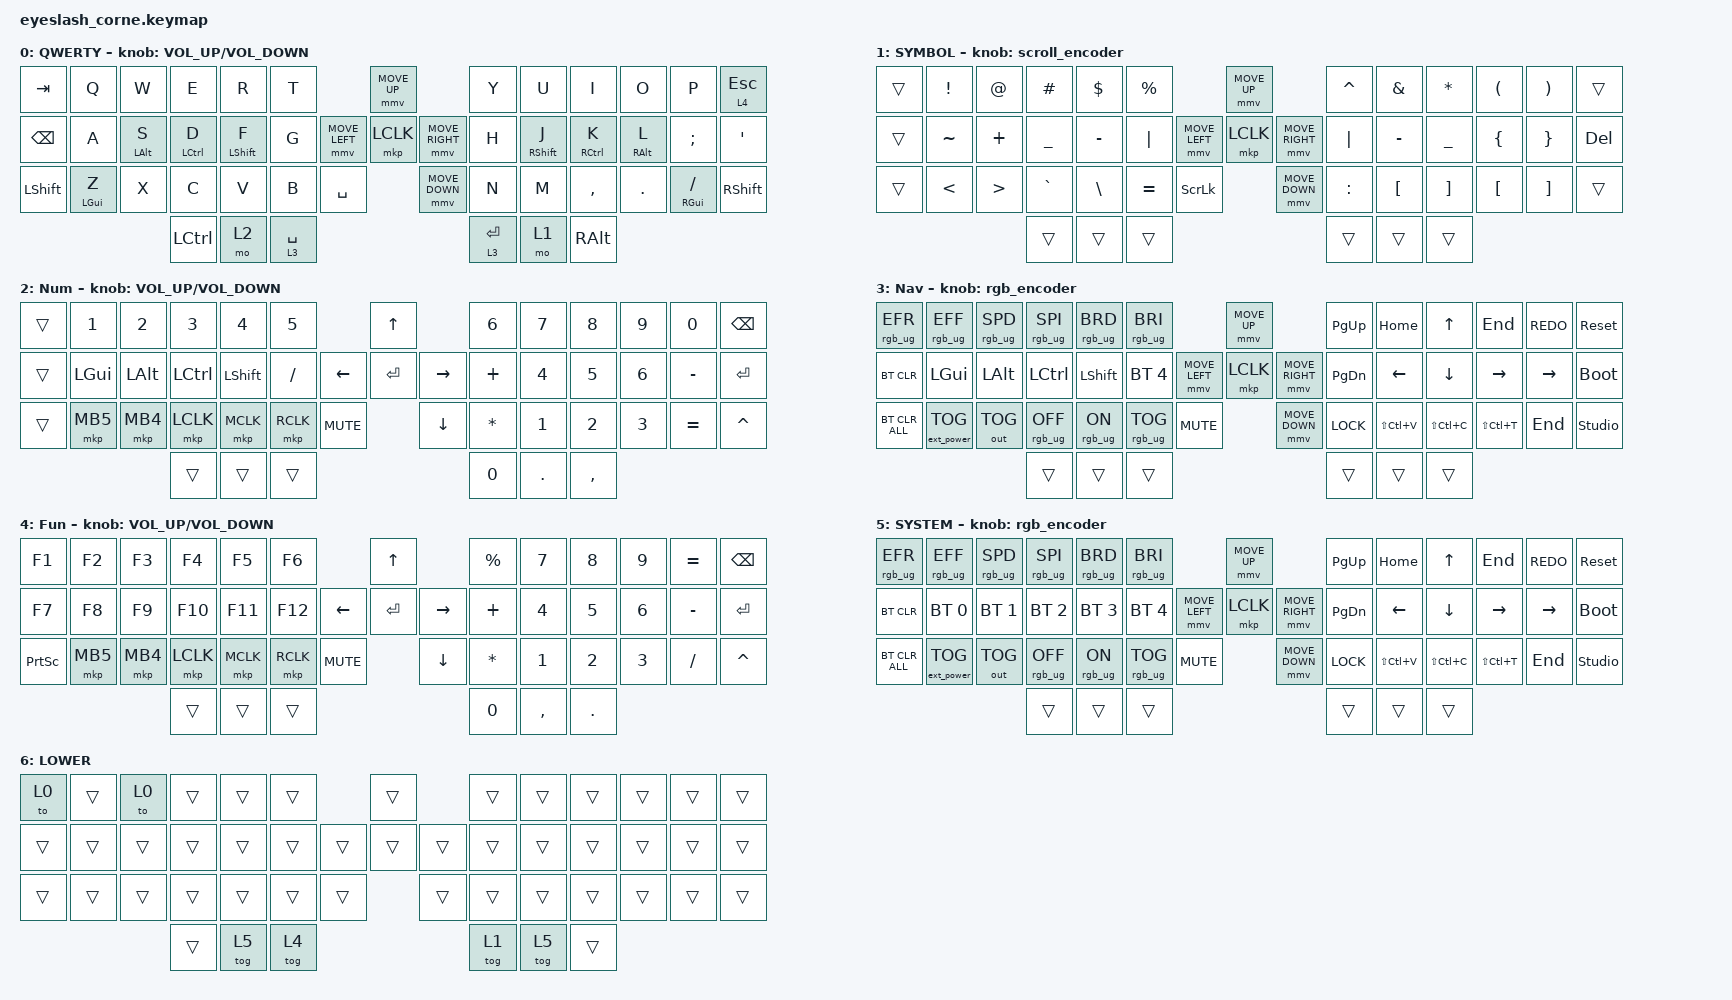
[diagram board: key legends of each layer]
#include <input/processors.dtsi>
#include <behaviors.dtsi>
#include <dt-bindings/zmk/bt.h>
#include <dt-bindings/zmk/ext_power.h>
#include <dt-bindings/zmk/keys.h>
#include <dt-bindings/zmk/outputs.h>
#include <dt-bindings/zmk/pointing.h>
#include <dt-bindings/zmk/rgb.h>

/*

   &mmv_input_listener {
       input-processors = <&zip_xy_scaler 2 1>;
   };

   &msc_input_listener {
       input-processors = <&zip_xy_scaler 2 1>;
   };

 */

/* pointing.h already defines these; undef first to avoid a redefinition warning */
#undef ZMK_POINTING_DEFAULT_MOVE_VAL
#undef ZMK_POINTING_DEFAULT_SCRL_VAL

#define ZMK_POINTING_DEFAULT_MOVE_VAL 1200  // 600
#define ZMK_POINTING_DEFAULT_SCRL_VAL 20    // 10

/ {
    conditional_layers {
        compatible = "zmk,conditional-layers";

        system_layer {
            // Num + symbol held together -> system
            if-layers = <2 1>;
            then-layer = <5>;
        };
    };

    behaviors {
        td0: td0 {
            compatible = "zmk,behavior-tap-dance";
            display-name = "Shift/Caps Lock Tap Dance";
            #binding-cells = <0>;
            bindings = <&kp LEFT_SHIFT>, <&kp CAPS>;
        };

        hrm_left: hrm_left {
            compatible = "zmk,behavior-hold-tap";
            label = "HRM_LEFT";
            bindings = <&kp>, <&kp>;

            #binding-cells = <2>;
            flavor = "balanced";
            tapping-term-ms = <280>;
            quick-tap-ms = <175>;
            require-prior-idle-ms = <175>;
            hold-trigger-on-release;
            hold-trigger-key-positions = <6 7 20 21 22 35 36 45 46 47 8 9 10 11 12 23 24 25 26 27 37 38 39 40 41 19 34 44 43 42>;
        };

        hrm_right: hrm_right {
            compatible = "zmk,behavior-hold-tap";
            label = "HRM_RIGHT";
            bindings = <&kp>, <&kp>;

            #binding-cells = <2>;
            flavor = "balanced";
            tapping-term-ms = <280>;
            quick-tap-ms = <175>;
            require-prior-idle-ms = <175>;
            hold-trigger-on-release;
            hold-trigger-key-positions = <0 1 2 3 4 5 13 14 15 16 17 18 28 29 30 31 32 33 34 42 43 44 19 20 21 35 6 45 46 47>;
        };

        layer_tap: layer_tap {
            compatible = "zmk,behavior-hold-tap";
            label = "LAYER_TAP";
            bindings = <&mo>, <&kp>;

            #binding-cells = <2>;
            quick-tap-ms = <175>;
            flavor = "tap-preferred";
            tapping-term-ms = <280>;
        };
    };

    rgb_encoder: rgb_encoder {
        compatible = "zmk,behavior-sensor-rotate";
        #sensor-binding-cells = <0>;
        bindings = <&rgb_ug RGB_BRI>, <&rgb_ug RGB_BRD>;
    };

    scroll_encoder: scroll_encoder {
        compatible = "zmk,behavior-sensor-rotate";
        #sensor-binding-cells = <0>;
        bindings = <&msc SCRL_DOWN>, <&msc SCRL_UP>;

        tap-ms = <30>;
    };

    combos {
        compatible = "zmk,combos";

        combo_lbrc {
            timeout-ms = <50>;
            key-positions = <4 5>; // KP: VB
            bindings = <&mt RBRC LBRC>;
            layers = <0 1 2 3 4 5>;
        };

        combo_rbrc {
            timeout-ms = <50>;
            key-positions = <6 7>; // KP: NM
            bindings = <&kp RBRC>;
            layers = <0 1 2 3 4 5>;
        };

        combo_lpar {
            timeout-ms = <50>;
            key-positions = <16 17>; // KP: FG
            bindings = <&mt RPAR LPAR>;
            layers = <0 1 2 3 4 5>;
        };

        combo_rpar {
            timeout-ms = <50>;
            key-positions = <18 19>;
            bindings = <&kp RPAR>;
            layers = <0 1 2 3 4 5>;
        };

        combo_lbkt {
            timeout-ms = <50>;
            key-positions = <28 29>; // KP: RT
            bindings = <&mt RBKT LBKT>;
            layers = <0 1 2 3 4 5>;
        };

        combo_rbkt {
            timeout-ms = <50>;
            key-positions = <30 31>; // KP: YU
            bindings = <&kp RBKT>;
            layers = <0 1 2 3 4 5>;
        };

        esc {
            timeout-ms = <50>;
            key-positions = <0 1>;
            bindings = <&kp ESC>; // ESC
            layers = <0>;
        };

        up {
            bindings = <&kp UP>;
            key-positions = <3 4>;
            layers = <0>;
            timeout-ms = <50>;
        };

        down {
            bindings = <&kp DOWN>;
            key-positions = <27 28>;
            timeout-ms = <50>;
            layers = <0>;
        };

        left {
            bindings = <&kp LEFT>;
            key-positions = <14 15>;
            layers = <0>;
            timeout-ms = <50>;
        };

        right {
            bindings = <&kp RIGHT>;
            key-positions = <15 16>;
            layers = <0>;
            timeout-ms = <50>;
        };
    };

    keymap {
        compatible = "zmk,keymap";

        qwerty {
            display-name = "QWERTY";
            bindings = <
&kp TAB         &kp Q                 &kp W             &kp E              &kp R              &kp T                                            &mmv MOVE_UP                     &kp Y               &kp U               &kp I               &kp O              &kp P                       &lt 4 ESC
&kp BACKSPACE   &kp A                 &hrm_left LALT S  &hrm_left LCTRL D  &hrm_left LSHFT F  &kp G                            &mmv MOVE_LEFT  &mkp LCLK       &mmv MOVE_RIGHT  &kp H               &hrm_right RSHFT J  &hrm_right RCTRL K  &hrm_right RALT L  &kp SEMICOLON               &kp SQT
&kp LEFT_SHIFT  &hrm_left LEFT_GUI Z  &kp X             &kp C              &kp V              &kp B               &kp SPACE                    &mmv MOVE_DOWN                   &kp N               &kp M               &kp COMMA           &kp DOT            &hrm_right RIGHT_GUI SLASH  &kp RIGHT_SHIFT
                                                        &kp LEFT_CONTROL   &mo 2              &layer_tap 3 SPACE                                                                &layer_tap 3 ENTER  &mo 1               &kp RIGHT_ALT
            >;

            sensor-bindings = <&inc_dec_kp C_VOLUME_UP C_VOLUME_DOWN>;
        };

        symbol {
            bindings = <
&trans  &kp EXCLAMATION  &kp AT_SIGN       &kp HASH        &kp DOLLAR     &kp PERCENT                                    &mmv MOVE_UP                     &kp CARET  &kp AMPERSAND     &kp ASTERISK       &kp LEFT_PARENTHESIS  &kp RIGHT_PARENTHESIS  &trans
&trans  &kp TILDE        &kp PLUS          &kp UNDERSCORE  &kp MINUS      &kp PIPE                       &mmv MOVE_LEFT  &mkp LCLK       &mmv MOVE_RIGHT  &kp PIPE   &kp MINUS         &kp UNDERSCORE     &kp LEFT_BRACE        &kp RIGHT_BRACE        &kp DELETE
&trans  &kp LESS_THAN    &kp GREATER_THAN  &kp GRAVE       &kp BACKSLASH  &kp EQUAL    &kp SCROLLLOCK                    &mmv MOVE_DOWN                   &kp COLON  &kp LEFT_BRACKET  &kp RIGHT_BRACKET  &kp LEFT_BRACKET      &kp RIGHT_BRACKET      &trans
                                           &trans          &trans         &trans                                                                          &trans     &trans            &trans
            >;

            label = "SYMBOL";
            sensor-bindings = <&scroll_encoder>;
        };

        Num {
            label = "Num";
            bindings = <
&trans  &kp N1        &kp N2        &kp N3            &kp N4          &kp N5                             &kp UP                &kp N6        &kp N7      &kp N8     &kp N9  &kp N0     &kp BACKSPACE
&trans  &kp LEFT_GUI  &kp LEFT_ALT  &kp LEFT_CONTROL  &kp LEFT_SHIFT  &kp SLASH                &kp LEFT  &kp ENTER  &kp RIGHT  &kp PLUS      &kp N4      &kp N5     &kp N6  &kp MINUS  &kp ENTER
&trans  &mkp MB5      &mkp MB4      &mkp LCLK         &mkp MCLK       &mkp RCLK  &kp C_MUTE              &kp DOWN              &kp ASTERISK  &kp N1      &kp N2     &kp N3  &kp EQUAL  &kp CARET
                                    &trans            &trans          &trans                                                   &kp N0        &kp PERIOD  &kp COMMA
            >;

            sensor-bindings = <&inc_dec_kp C_VOLUME_UP C_VOLUME_DOWN>;
        };

        Nav {
            display-name = "Nav";
            bindings = <
&rgb_ug RGB_EFR  &rgb_ug RGB_EFF    &rgb_ug RGB_SPD  &rgb_ug RGB_SPI   &rgb_ug RGB_BRD  &rgb_ug RGB_BRI                                &mmv MOVE_UP                     &kp PAGE_UP    &kp HOME        &kp UP_ARROW    &kp END        &kp K_REDO  &sys_reset
&bt BT_CLR       &kp LEFT_GUI       &kp LEFT_ALT     &kp LEFT_CONTROL  &kp LEFT_SHIFT   &bt BT_SEL 4                   &mmv MOVE_LEFT  &mkp LCLK       &mmv MOVE_RIGHT  &kp PAGE_DOWN  &kp LEFT_ARROW  &kp DOWN_ARROW  &kp RIGHT      &kp RIGHT   &bootloader
&bt BT_CLR_ALL   &ext_power EP_TOG  &out OUT_TOG     &rgb_ug RGB_OFF   &rgb_ug RGB_ON   &rgb_ug RGB_TOG  &kp C_MUTE                    &mmv MOVE_DOWN                   &kp K_LOCK     &kp LS(LC(V))   &kp LS(LC(C))   &kp LS(LC(T))  &kp END     &studio_unlock
                                                     &trans            &trans           &trans                                                                          &trans         &trans          &trans
            >;

            sensor-bindings = <&rgb_encoder>;
        };

        Fun {
            bindings = <
&kp F1           &kp F2    &kp F3    &kp F4     &kp F5     &kp F6                             &kp UP                &kp PERCENT   &kp N7     &kp N8   &kp N9  &kp EQUAL  &kp BACKSPACE
&kp F7           &kp F8    &kp F9    &kp F10    &kp F11    &kp F12                  &kp LEFT  &kp ENTER  &kp RIGHT  &kp PLUS      &kp N4     &kp N5   &kp N6  &kp MINUS  &kp ENTER
&kp PRINTSCREEN  &mkp MB5  &mkp MB4  &mkp LCLK  &mkp MCLK  &mkp RCLK  &kp C_MUTE              &kp DOWN              &kp ASTERISK  &kp N1     &kp N2   &kp N3  &kp FSLH   &kp CARET
                                     &trans     &trans     &trans                                                   &kp N0        &kp COMMA  &kp DOT
            >;

            label = "Fun";
            sensor-bindings = <&inc_dec_kp C_VOLUME_UP C_VOLUME_DOWN>;
        };

        system {
            display-name = "SYSTEM";
            bindings = <
&rgb_ug RGB_EFR  &rgb_ug RGB_EFF    &rgb_ug RGB_SPD  &rgb_ug RGB_SPI  &rgb_ug RGB_BRD  &rgb_ug RGB_BRI                                &mmv MOVE_UP                     &kp PAGE_UP    &kp HOME        &kp UP_ARROW    &kp END        &kp K_REDO  &sys_reset
&bt BT_CLR       &bt BT_SEL 0       &bt BT_SEL 1     &bt BT_SEL 2     &bt BT_SEL 3     &bt BT_SEL 4                   &mmv MOVE_LEFT  &mkp LCLK       &mmv MOVE_RIGHT  &kp PAGE_DOWN  &kp LEFT_ARROW  &kp DOWN_ARROW  &kp RIGHT      &kp RIGHT   &bootloader
&bt BT_CLR_ALL   &ext_power EP_TOG  &out OUT_TOG     &rgb_ug RGB_OFF  &rgb_ug RGB_ON   &rgb_ug RGB_TOG  &kp C_MUTE                    &mmv MOVE_DOWN                   &kp K_LOCK     &kp LS(LC(V))   &kp LS(LC(C))   &kp LS(LC(T))  &kp END     &studio_unlock
                                                     &trans           &trans           &trans                                                                          &trans         &trans          &trans
            >;

            sensor-bindings = <&rgb_encoder>;
        };

        lower {
            bindings = <
&to 0   &trans   &to 0   &trans  &trans  &trans                    &trans          &trans  &trans  &trans  &trans  &trans  &trans
&trans  &trans  &trans  &trans  &trans  &trans            &trans  &trans  &trans  &trans  &trans  &trans  &trans  &trans  &trans
&trans  &trans  &trans  &trans  &trans  &trans  &trans            &trans          &trans  &trans  &trans  &trans  &trans  &trans
                        &trans  &tog 5  &tog 4                                    &tog 1  &tog 5  &trans
            >;

            label = "LOWER";
        };
    };
};
